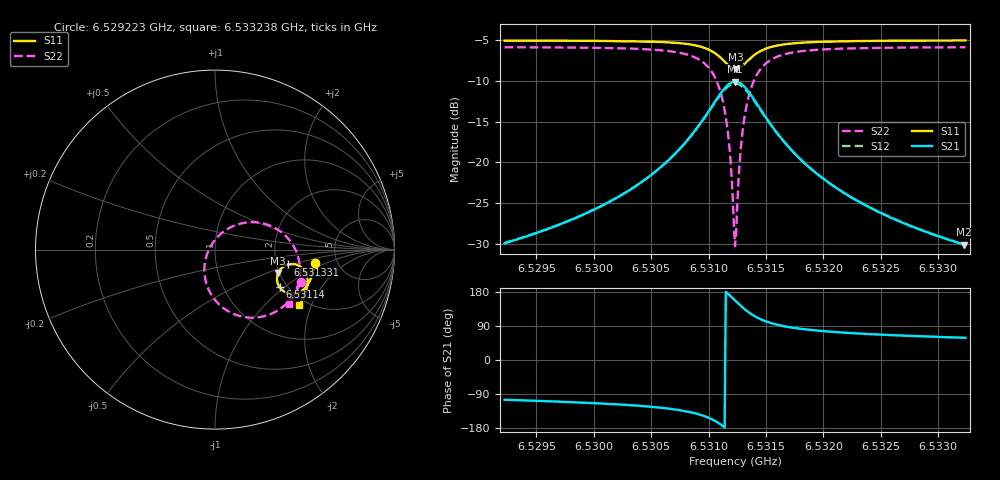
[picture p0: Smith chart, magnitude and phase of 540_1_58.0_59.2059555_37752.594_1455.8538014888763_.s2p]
#  HZ  S  RI  R  50.00
! Rohde & Schwarz Vector Network Analyzer
! Rohde-Schwarz,ZNB20-2Port,1311601062101988,3.16
! Created: UTC 3/21/2024, 1:14:27 AM
! freq[Hz]  re:S11  im:S11  re:S21  im:S21  re:S12  im:S12  re:S22  im:S22
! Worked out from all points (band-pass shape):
!   401 points, 6.529223 GHz to 6.533238 GHz, reference 50 ohm
!   highest |S21| = -10.05 dB at 6.53123 GHz (marker M1); lowest = -30.1 dB at 6.533228 GHz (marker M2)
!   |S21| within 3 dB of the highest: 6.531031 GHz to 6.531433 GHz (401.4 kHz wide, 0.00615 % of centre)
!   lowest |S11| = -8.5 dB at 6.53124 GHz (marker M3), VSWR 2.20, Z = 98.5 - j29.7 ohm
!   |S11| at or under -10 dB: nowhere
!   |S22| runs from -30.3 to -5.8 dB; largest |S21 - S12| = 0.012
!   S11 on the Smith chart (normalised r, x): 6.529223 GHz: 3.38, -0.74; 6.53114 GHz: 1.82, -0.93; 6.531331 GHz: 2.31, -0.46; 6.533238 GHz: 1.82, -1.64
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6.5292227e9  0.5559 -0.0748  -0.00828 -0.0306  -0.00881 -0.0306  0.4782 -0.1804
6.5298952e9  0.544 -0.131  -0.018 -0.0436  -0.0191 -0.0433  0.4462 -0.2427
6.5302667e9  0.532 -0.1657  -0.0304 -0.057  -0.032 -0.0562  0.4131 -0.286
6.5305678e9  0.5141 -0.1983  -0.0531 -0.0744  -0.0552 -0.0732  0.3625 -0.3308
6.5307987e9  0.4862 -0.2275  -0.0939 -0.0936  -0.0967 -0.0905  0.2801 -0.3695
6.5309693e9  0.4412 -0.2456  -0.1636 -0.0992  -0.1658 -0.0923  0.152 -0.3737
6.5310697e9  0.3954 -0.2391  -0.2342 -0.071  -0.233 -0.0612  0.0337 -0.3153
6.53114e9  0.3602 -0.2101  -0.2857 -0.0103  -0.2794 -0.000331  -0.043 -0.205
6.5311801e9  0.3476 -0.1811  -0.3012 0.0438  -0.2916 0.0518  -0.0593 -0.1125
6.5312203e9  0.3472 -0.1466  -0.2954 0.1056  -0.2841 0.1099  -0.0395 -0.0125
6.5312303e9  0.3493 -0.138  -0.2902 0.1208  -0.2787 0.124  -0.0282 0.0115
6.5312404e9  0.3524 -0.1297  -0.2834 0.1355  -0.2721 0.1376  -0.0149 0.0339
6.5312906e9  0.379 -0.0964  -0.232 0.1931  -0.2227 0.1909  0.078 0.1197
6.5313307e9  0.4072 -0.0829  -0.1819 0.2159  -0.1748 0.2124  0.1649 0.1496
6.531401e9  0.4515 -0.0835  -0.1042 0.2171  -0.1008 0.2135  0.2946 0.1379
6.5315014e9  0.4898 -0.1067  -0.0382 0.184  -0.0366 0.1821  0.4016 0.0683
6.5316519e9  0.5115 -0.1439  0.00128 0.1355  0.00235 0.1347  0.4595 -0.0294
6.5319029e9  0.5161 -0.1878  0.0175 0.0881  0.0185 0.088  0.4738 -0.1283
6.5322342e9  0.5085 -0.2269  0.0198 0.058  0.0208 0.058  0.462 -0.1991
6.5325755e9  0.4969 -0.2582  0.0188 0.0421  0.0195 0.0418  0.4448 -0.2447
6.5332279e9  0.4712 -0.3073  0.0162 0.0266  0.0168 0.0264  0.4108 -0.3035
6.533238e9  0.4707 -0.3079  0.0162 0.0266  0.0167 0.0262  0.4103 -0.3042
